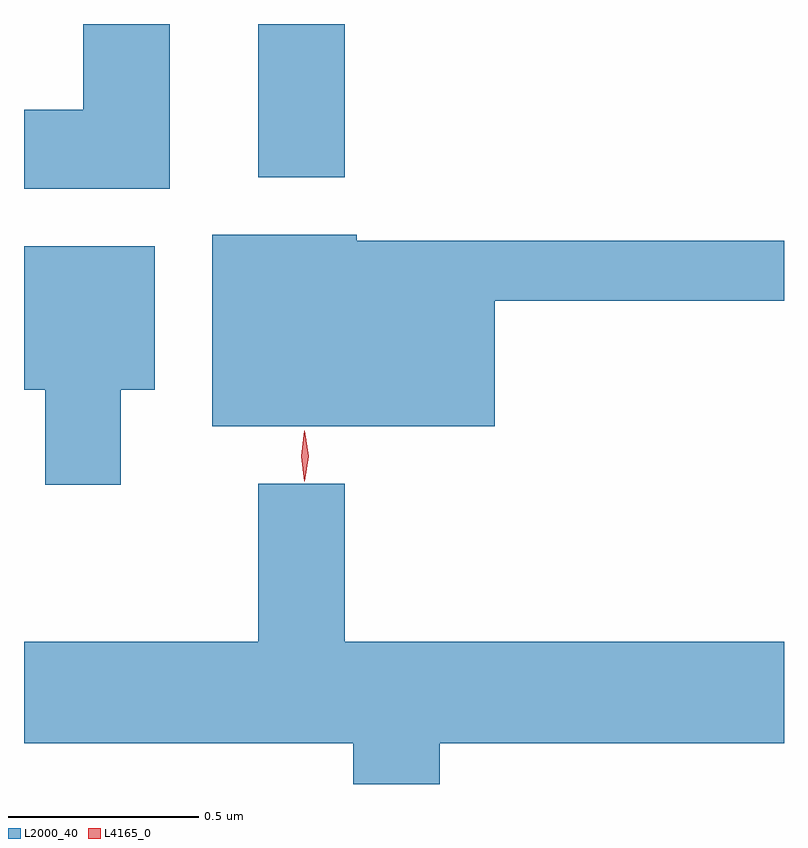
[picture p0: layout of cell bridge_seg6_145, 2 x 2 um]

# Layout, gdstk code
import gdstk
lib = gdstk.Library(unit=1e-6, precision=1e-09)
def R(c, l, rs):  # rectangles x0, y0, x1, y1
    for r in rs: c.add(gdstk.rectangle(r[:2], r[2:], *l))
def P(c, l, *ps):  # polygons
    for p in ps: c.add(gdstk.Polygon(p, *l))
L2000_40 = (2000, 40)
L4165_0 = (4165, 0)

bridge_seg6_145 = lib.new_cell('bridge_seg6_145')
R(bridge_seg6_145, L2000_40, [(1020.731,1624.786,1020.959,1625.189)])
P(bridge_seg6_145, L2000_40, [(1020.499,1625.189),(1020.271,1625.189),(1020.271,1624.964),(1020.115,1624.964),(1020.115,1624.756),(1020.499,1624.756)],
  [(1021.354,1624.461),(1022.115,1624.461),(1022.115,1624.619),(1020.99,1624.619),(1020.99,1624.634),(1020.611,1624.634),(1020.611,1624.131),(1021.354,1624.131)],
  [(1020.369,1624.226),(1020.459,1624.226),(1020.459,1624.604),(1020.115,1624.604),(1020.115,1624.226),(1020.171,1624.226),(1020.171,1623.976),(1020.369,1623.976)],
  [(1021.209,1623.296),(1022.115,1623.296),(1022.115,1623.564),(1020.959,1623.564),(1020.959,1623.979),(1020.731,1623.979),(1020.731,1623.564),(1020.115,1623.564),(1020.115,1623.296),(1020.981,1623.296),(1020.981,1623.189),(1021.209,1623.189)])
P(bridge_seg6_145, L4165_0, [(1020.853,1623.986),(1020.853,1623.986),(1020.844,1624.052),(1020.853,1624.119),(1020.854,1624.119),(1020.854,1624.119),(1020.864,1624.052),(1020.854,1623.986)])

lib.write_gds('bridge_seg6_145.gds')
